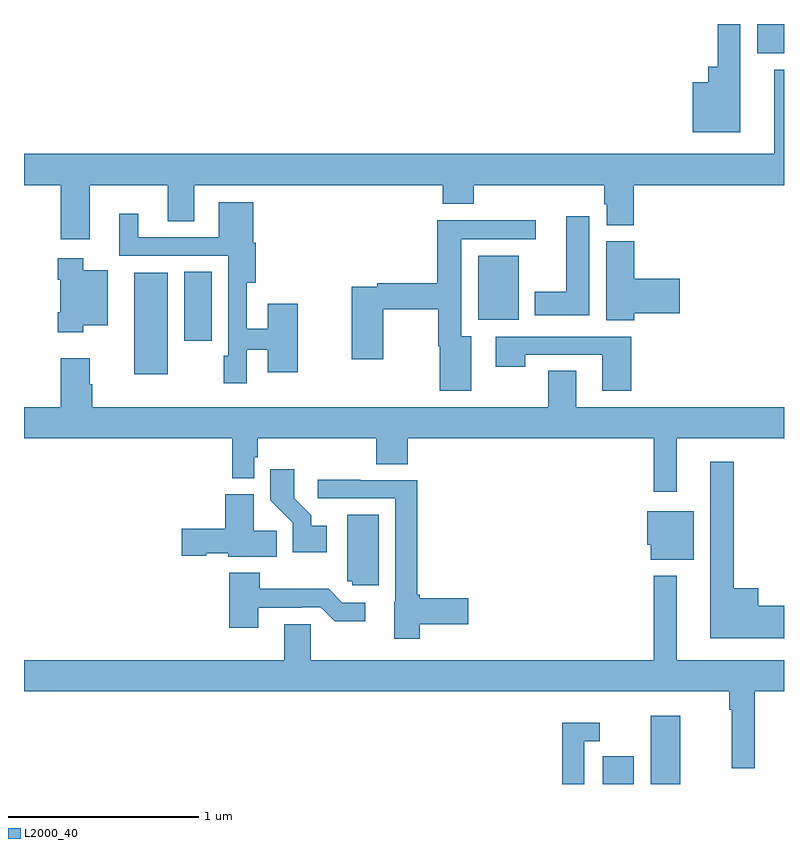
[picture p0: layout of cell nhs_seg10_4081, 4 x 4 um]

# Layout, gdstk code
import gdstk
lib = gdstk.Library(unit=1e-6, precision=1e-09)
def R(c, l, rs):  # rectangles x0, y0, x1, y1
    for r in rs: c.add(gdstk.rectangle(r[:2], r[2:], *l))
def P(c, l, *ps):  # polygons
    for p in ps: c.add(gdstk.Polygon(p, *l))
L2000_40 = (2000, 40)

nhs_seg10_4081 = lib.new_cell('nhs_seg10_4081')
R(nhs_seg10_4081, L2000_40, [(340.046,1294.5,340.21,1294.645), (340.298,1294.5,340.453,1294.858), (337.58,1296.656,337.756,1297.192), (337.844,1296.834,337.987,1297.196), (339.392,1296.944,339.604,1297.279), (340.859,1298.345,341,1298.5)])
P(nhs_seg10_4081, L2000_40, [(340.771,1298.5),(340.65,1298.5),(340.65,1298.275),(340.601,1298.275),(340.601,1298.194),(340.52,1298.194),(340.52,1297.931),(340.771,1297.931)],
  [(337.345,1297.652),(337.757,1297.652),(337.757,1297.462),(337.897,1297.462),(337.897,1297.652),(339.203,1297.652),(339.203,1297.553),(339.368,1297.553),(339.368,1297.652),(340.055,1297.652),(340.055,1297.551),(340.067,1297.551),(340.067,1297.441),(340.208,1297.441),(340.208,1297.652),(341,1297.652),(341,1298.26),(340.949,1298.26),(340.949,1297.816),(337,1297.816),(337,1297.652),(337.193,1297.652),(337.193,1297.368),(337.345,1297.368)],
  [(338.172,1296.786),(338.282,1296.786),(338.282,1296.666),(338.44,1296.666),(338.44,1297.027),(338.282,1297.027),(338.282,1296.897),(338.172,1296.897),(338.172,1297.139),(338.219,1297.139),(338.219,1297.35),(338.206,1297.35),(338.206,1297.561),(338.024,1297.561),(338.024,1297.377),(337.6,1297.377),(337.6,1297.501),(337.502,1297.501),(337.502,1297.281),(338.076,1297.281),(338.076,1296.753),(338.05,1296.753),(338.05,1296.609),(338.172,1296.609)],
  [(339.976,1297.489),(339.854,1297.489),(339.854,1297.09),(339.689,1297.09),(339.689,1296.968),(339.976,1296.968)],
  [(339.355,1296.856),(339.301,1296.856),(339.301,1297.368),(339.694,1297.368),(339.694,1297.466),(339.176,1297.466),(339.176,1297.136),(338.86,1297.136),(338.86,1297.116),(338.726,1297.116),(338.726,1296.735),(338.892,1296.735),(338.892,1297),(339.181,1297),(339.181,1296.803),(339.188,1296.803),(339.188,1296.57),(339.355,1296.57)],
  [(340.211,1296.977),(340.45,1296.977),(340.45,1297.16),(340.211,1297.16),(340.211,1297.356),(340.064,1297.356),(340.064,1296.94),(340.211,1296.94)],
  [(337.312,1296.914),(337.441,1296.914),(337.441,1297.204),(337.312,1297.204),(337.312,1297.267),(337.178,1297.267),(337.178,1297.154),(337.19,1297.154),(337.19,1296.982),(337.178,1296.982),(337.178,1296.878),(337.312,1296.878)],
  [(340.196,1296.855),(339.483,1296.855),(339.483,1296.696),(339.639,1296.696),(339.639,1296.759),(340.043,1296.759),(340.043,1296.57),(340.196,1296.57)],
  [(340.435,1296.32),(341,1296.32),(341,1296.484),(339.907,1296.484),(339.907,1296.674),(339.76,1296.674),(339.76,1296.484),(337.358,1296.484),(337.358,1296.605),(337.345,1296.605),(337.345,1296.742),(337.193,1296.742),(337.193,1296.484),(337,1296.484),(337,1296.32),(338.095,1296.32),(338.095,1296.11),(338.211,1296.11),(338.211,1296.219),(338.231,1296.219),(338.231,1296.32),(338.855,1296.32),(338.855,1296.184),(339.02,1296.184),(339.02,1296.32),(340.314,1296.32),(340.314,1296.039),(340.435,1296.039)],
  [(341,1295.438),(340.864,1295.438),(340.864,1295.53),(340.735,1295.53),(340.735,1296.196),(340.613,1296.196),(340.613,1295.267),(341,1295.267)],
  [(338.593,1295.86),(338.512,1295.86),(338.512,1295.915),(338.422,1296.005),(338.422,1296.157),(338.296,1296.157),(338.296,1295.994),(338.415,1295.875),(338.415,1295.72),(338.593,1295.72)],
  [(339.084,1295.342),(339.337,1295.342),(339.337,1295.477),(339.084,1295.477),(339.084,1295.495),(339.071,1295.495),(339.071,1296.099),(338.771,1296.099),(338.771,1296.102),(338.547,1296.102),(338.547,1296.003),(338.955,1296.003),(338.955,1295.46),(338.948,1295.46),(338.948,1295.264),(339.084,1295.264)],
  [(338.33,1295.834),(338.209,1295.834),(338.209,1296.025),(338.06,1296.025),(338.06,1295.844),(337.83,1295.844),(337.83,1295.702),(337.959,1295.702),(337.959,1295.714),(338.076,1295.714),(338.076,1295.696),(338.33,1295.696)],
  [(340.525,1295.935),(340.28,1295.935),(340.28,1295.76),(340.298,1295.76),(340.298,1295.681),(340.525,1295.681)],
  [(338.866,1295.917),(338.702,1295.917),(338.702,1295.568),(338.727,1295.568),(338.727,1295.547),(338.866,1295.547)],
  [(338.233,1295.427),(338.462,1295.427),(338.462,1295.43),(338.562,1295.43),(338.635,1295.357),(338.797,1295.357),(338.797,1295.454),(338.676,1295.454),(338.603,1295.527),(338.241,1295.527),(338.241,1295.611),(338.081,1295.611),(338.081,1295.322),(338.233,1295.322)],
  [(340.847,1294.988),(341,1294.988),(341,1295.152),(340.435,1295.152),(340.435,1295.596),(340.314,1295.596),(340.314,1295.152),(338.508,1295.152),(338.508,1295.342),(338.369,1295.342),(338.369,1295.152),(337,1295.152),(337,1294.988),(340.711,1294.988),(340.711,1294.892),(340.726,1294.892),(340.726,1294.584),(340.847,1294.584)],
  [(339.948,1294.725),(340.03,1294.725),(340.03,1294.822),(339.832,1294.822),(339.832,1294.5),(339.948,1294.5)])

lib.write_gds('nhs_seg10_4081.gds')
